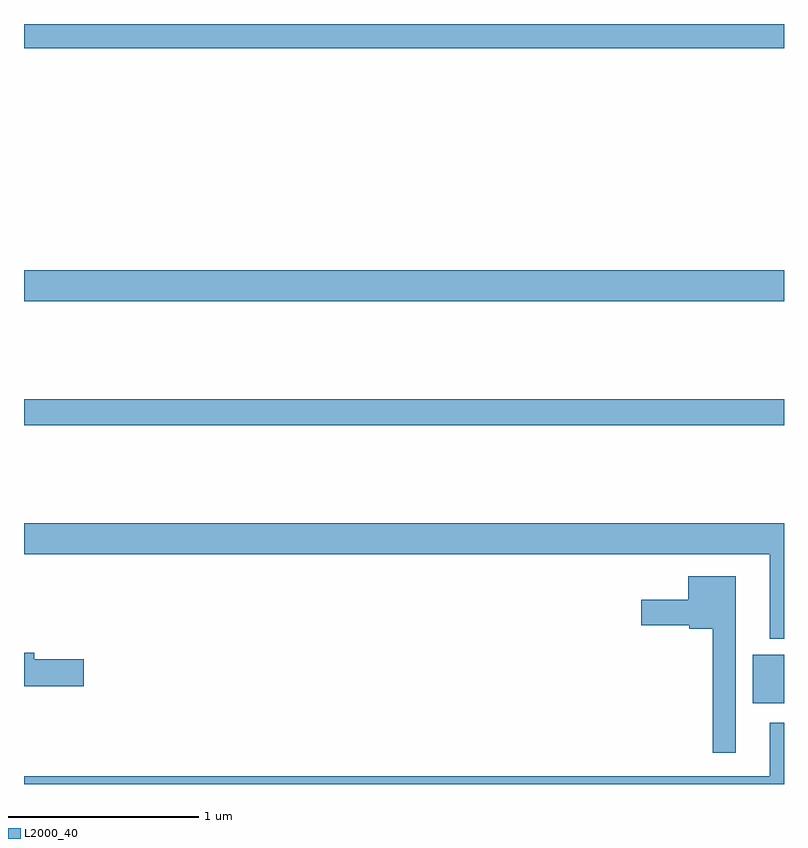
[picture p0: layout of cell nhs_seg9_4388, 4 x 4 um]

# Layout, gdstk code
import gdstk
lib = gdstk.Library(unit=1e-6, precision=1e-09)
def R(c, l, rs):  # rectangles x0, y0, x1, y1
    for r in rs: c.add(gdstk.rectangle(r[:2], r[2:], *l))
def P(c, l, *ps):  # polygons
    for p in ps: c.add(gdstk.Polygon(p, *l))
L2000_40 = (2000, 40)

nhs_seg9_4388 = lib.new_cell('nhs_seg9_4388')
R(nhs_seg9_4388, L2000_40, [(364.835,1240.925,365,1241.179), (361,1242.388,365,1242.524), (361,1243.04,365,1243.204), (361,1244.372,365,1244.5)])
P(nhs_seg9_4388, L2000_40, [(365,1241.872),(361,1241.872),(361,1241.708),(364.925,1241.708),(364.925,1241.264),(365,1241.264)],
  [(364.747,1241.593),(364.496,1241.593),(364.496,1241.47),(364.248,1241.47),(364.248,1241.336),(364.5,1241.336),(364.5,1241.318),(364.626,1241.318),(364.626,1240.665),(364.747,1240.665)],
  [(361.315,1241.156),(361.054,1241.156),(361.054,1241.192),(361,1241.192),(361,1241.014),(361.315,1241.014)],
  [(365,1240.822),(364.925,1240.822),(364.925,1240.54),(361,1240.54),(361,1240.5),(365,1240.5)])

lib.write_gds('nhs_seg9_4388.gds')
